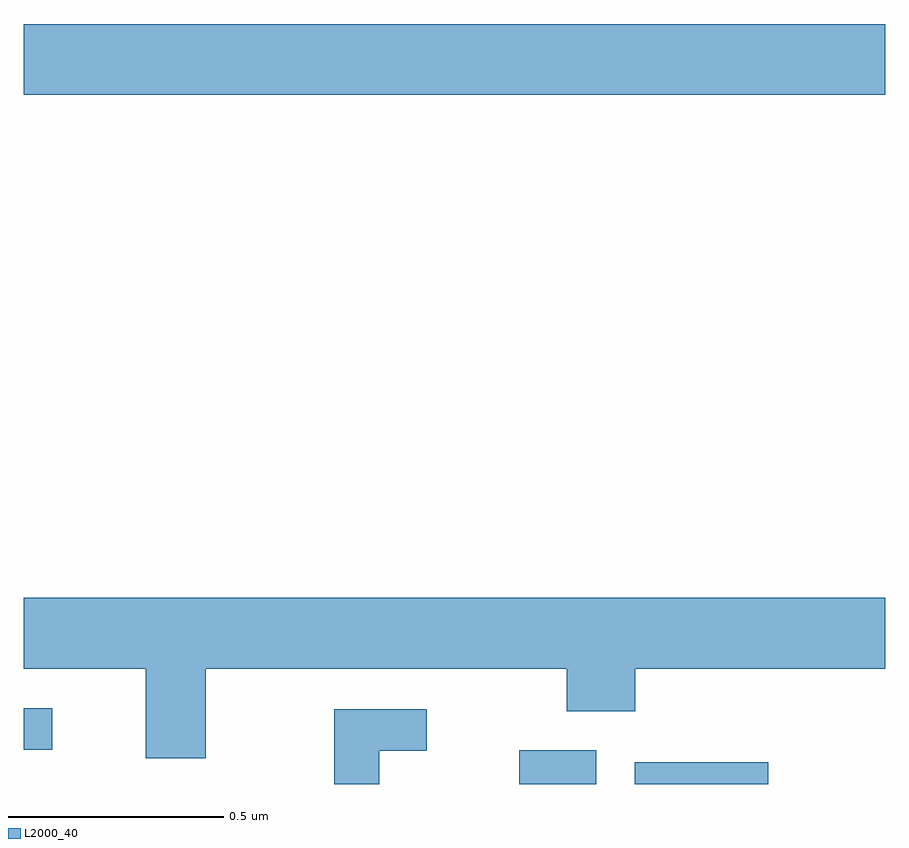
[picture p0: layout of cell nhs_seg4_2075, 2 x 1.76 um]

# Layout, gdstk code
import gdstk
lib = gdstk.Library(unit=1e-6, precision=1e-09)
def R(c, l, rs):  # rectangles x0, y0, x1, y1
    for r in rs: c.add(gdstk.rectangle(r[:2], r[2:], *l))
def P(c, l, *ps):  # polygons
    for p in ps: c.add(gdstk.Polygon(p, *l))
L2000_40 = (2000, 40)

nhs_seg4_2075 = lib.new_cell('nhs_seg4_2075')
R(nhs_seg4_2075, L2000_40, [(137.15,781.9,137.329,781.978), (137.418,781.9,137.728,781.95), (136,781.98,136.066,782.076), (136,783.5,138,783.664)])
P(nhs_seg4_2075, L2000_40, [(136.423,782.168),(137.26,782.168),(137.26,782.069),(137.42,782.069),(137.42,782.168),(138,782.168),(138,782.332),(136,782.332),(136,782.168),(136.283,782.168),(136.283,781.96),(136.423,781.96)],
  [(136.825,781.977),(136.936,781.977),(136.936,782.073),(136.721,782.073),(136.721,781.9),(136.825,781.9)])

lib.write_gds('nhs_seg4_2075.gds')
